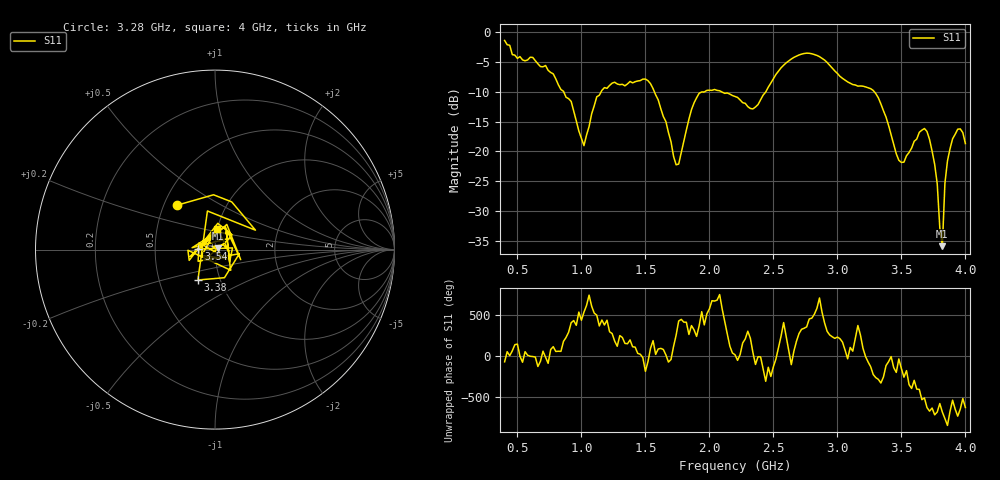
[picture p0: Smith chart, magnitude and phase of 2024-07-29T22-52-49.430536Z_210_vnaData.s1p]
!Created with skrf (http://scikit-rf.org).
# Hz S RI R 50.0
!freq ReS11 ImS11
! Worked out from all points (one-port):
!   181 points, 400 MHz to 4 GHz, reference 50 ohm
!   lowest |S11| = -35.9 dB at 3.82 GHz (marker M1), VSWR 1.03, Z = 51.4 + j0.801 ohm
!   |S11| at or under -10 dB: 1.57 GHz to 1.962 GHz (391.4 MHz wide, 22.2 % of centre); 2.096 GHz to 2.441 GHz (345 MHz wide, 15.2 % of centre); 3.289 GHz to end of sweep (the widest 3 of 4)
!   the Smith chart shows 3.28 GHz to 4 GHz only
!   S11 on the Smith chart (normalised r, x): 3.28 GHz: 0.59, +0.32; 3.38 GHz: 0.78, -0.28; 3.54 GHz: 0.83, +0.00; 4 GHz: 0.99, +0.23
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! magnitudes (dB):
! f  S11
! 400 MHz  -1.4
! 720 MHz  -5.6
! 860 MHz  -9.9
! 920 MHz  -11.6
! 1.02 GHz  -19.0
! 1.12 GHz  -10.8
! 1.3 GHz  -8.8
! 1.54 GHz  -8.6
! 1.76 GHz  -22.1
! 1.86 GHz  -13.0
! 1.92 GHz  -10.2
! 2.2 GHz  -10.8
! 2.34 GHz  -12.9
! 2.66 GHz  -4.2
! 2.84 GHz  -3.9
! 3.1 GHz  -8.6
! 3.28 GHz  -9.8
! 3.38 GHz  -14.2
! 3.48 GHz  -21.5
! 3.54 GHz  -20.7
! 3.56 GHz  -20.2
! 3.7 GHz  -16.6
! 3.76 GHz  -22.2
! 3.82 GHz  -35.9
! 3.84 GHz  -25.4
! 3.88 GHz  -19.5
! 3.94 GHz  -16.3
! 4 GHz  -18.7
